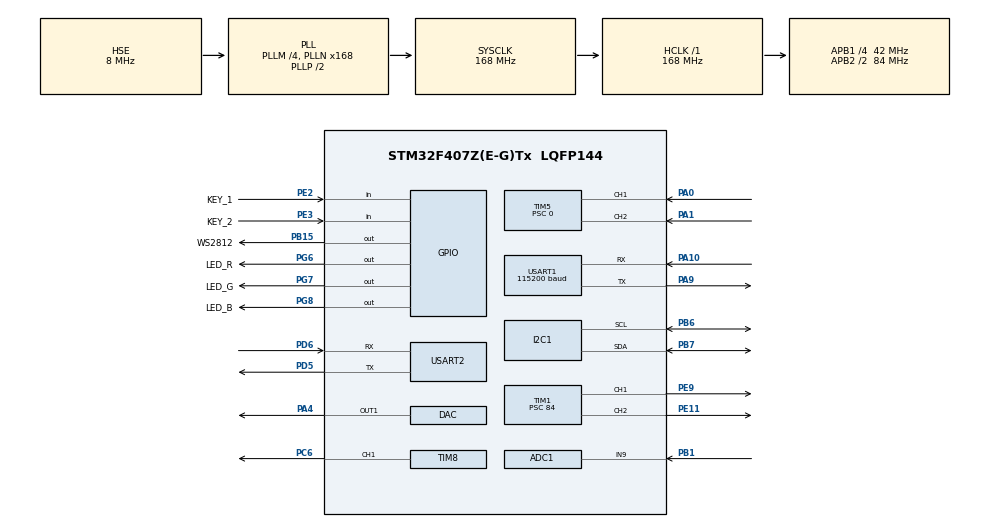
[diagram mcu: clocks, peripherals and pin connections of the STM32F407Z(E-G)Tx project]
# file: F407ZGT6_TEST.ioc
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ADC1.Channel-0\#ChannelRegularConversion=ADC_CHANNEL_9
ADC1.ClockPrescaler=ADC_CLOCK_SYNC_PCLK_DIV4
ADC1.NbrOfConversion=1
ADC1.NbrOfConversionFlag=1
ADC1.Rank-0\#ChannelRegularConversion=1
ADC1.SamplingTime-0\#ChannelRegularConversion=ADC_SAMPLETIME_15CYCLES
ADC1.master=1
DAC.DAC_Trigger=DAC_TRIGGER_NONE
I2C1.I2C_Mode=I2C_Fast
Mcu.Family=STM32F4
Mcu.Name=STM32F407Z(E-G)Tx
Mcu.Package=LQFP144
NVIC.PriorityGroup=NVIC_PRIORITYGROUP_4
NVIC.TIM7_IRQn=true\:4\:0\:true\:false\:true\:true\:true
NVIC.USART1_IRQn=true\:0\:0\:true\:false\:true\:true\:true
NVIC.USART2_IRQn=true\:0\:0\:false\:false\:true\:true\:true
PA0-WKUP.Signal=S_TIM5_CH1
PA1.Signal=S_TIM5_CH2
PA10.Mode=Asynchronous
PA10.Signal=USART1_RX
PA13.Mode=Trace_Asynchronous_SW
PA13.Signal=SYS_JTMS-SWDIO
PA14.Mode=Trace_Asynchronous_SW
PA14.Signal=SYS_JTCK-SWCLK
PA4.Signal=COMP_DAC1_group
PA9.Mode=Asynchronous
PA9.Signal=USART1_TX
PB1.Signal=ADCx_IN9
PB15.GPIO_Label=WS2812
PB15.GPIO_PuPd=GPIO_PULLDOWN
PB15.GPIO_Speed=GPIO_SPEED_FREQ_VERY_HIGH
PB15.Signal=GPIO_Output
PB3.Mode=Trace_Asynchronous_SW
PB3.Signal=SYS_JTDO-SWO
PB6.Mode=I2C
PB6.Signal=I2C1_SCL
PB7.Mode=I2C
PB7.Signal=I2C1_SDA
PC6.Signal=S_TIM8_CH1
PD5.Mode=Asynchronous
PD5.Signal=USART2_TX
PD6.Mode=Asynchronous
PD6.Signal=USART2_RX
PE11.Signal=S_TIM1_CH2
PE2.GPIO_Label=KEY_1
PE2.Signal=GPIO_Input
PE3.GPIO_Label=KEY_2
PE3.Signal=GPIO_Input
PE9.Signal=S_TIM1_CH1
PG6.GPIO_Label=LED_R
PG6.GPIO_ModeDefaultOutputPP=GPIO_MODE_OUTPUT_OD
PG6.GPIO_Speed=GPIO_SPEED_FREQ_MEDIUM
PG6.PinState=GPIO_PIN_SET
PG6.Signal=GPIO_Output
PG7.GPIO_Label=LED_G
PG7.GPIO_ModeDefaultOutputPP=GPIO_MODE_OUTPUT_OD
PG7.GPIO_Speed=GPIO_SPEED_FREQ_MEDIUM
PG7.PinState=GPIO_PIN_SET
PG7.Signal=GPIO_Output
PG8.GPIO_Label=LED_B
PG8.GPIO_ModeDefaultOutputPP=GPIO_MODE_OUTPUT_OD
PG8.GPIO_Speed=GPIO_SPEED_FREQ_MEDIUM
PG8.PinState=GPIO_PIN_SET
PG8.Signal=GPIO_Output
PH0-OSC_IN.Mode=HSE-External-Oscillator
PH0-OSC_IN.Signal=RCC_OSC_IN
PH1-OSC_OUT.Mode=HSE-External-Oscillator
PH1-OSC_OUT.Signal=RCC_OSC_OUT
ProjectManager.HeapSize=0x200
ProjectManager.StackSize=0x400
ProjectManager.TargetToolchain=Makefile
RCC.48MHZClocksFreq_Value=84000000
RCC.AHBFreq_Value=168000000
RCC.APB1CLKDivider=RCC_HCLK_DIV4
RCC.APB1Freq_Value=42000000
RCC.APB1TimFreq_Value=84000000
RCC.APB2CLKDivider=RCC_HCLK_DIV2
RCC.APB2Freq_Value=84000000
RCC.APB2TimFreq_Value=168000000
RCC.CortexFreq_Value=168000000
RCC.HCLKFreq_Value=168000000
RCC.HSE_VALUE=8000000
RCC.HSI_VALUE=16000000
RCC.LSE_VALUE=32768
RCC.PLLM=4
RCC.PLLN=168
RCC.PLLSourceVirtual=RCC_PLLSOURCE_HSE
RCC.SYSCLKFreq_VALUE=168000000
RCC.SYSCLKSource=RCC_SYSCLKSOURCE_PLLCLK
RCC.VCOOutputFreq_Value=336000000
SH.ADCx_IN9.0=ADC1_IN9,IN9
SH.COMP_DAC1_group.0=DAC_OUT1,DAC_OUT1
SH.S_TIM1_CH1.0=TIM1_CH1,PWM Generation1 CH1
SH.S_TIM1_CH2.0=TIM1_CH2,PWM Generation2 CH2
SH.S_TIM5_CH1.0=TIM5_CH1,Encoder_Interface
SH.S_TIM5_CH2.0=TIM5_CH2,Encoder_Interface
SH.S_TIM8_CH1.0=TIM8_CH1,PWM Generation1 CH1
TIM1.AutoReloadPreload=TIM_AUTORELOAD_PRELOAD_ENABLE
TIM1.Channel-PWM\ Generation1\ CH1=TIM_CHANNEL_1
TIM1.Channel-PWM\ Generation2\ CH2=TIM_CHANNEL_2
TIM1.Period=100
TIM1.Prescaler=84
TIM5.CounterMode=TIM_COUNTERMODE_UP
TIM5.Prescaler=0
TIM6.Period=1
TIM6.Prescaler=84-1
TIM7.AutoReloadPreload=TIM_AUTORELOAD_PRELOAD_ENABLE
TIM7.Period=40-1
TIM7.Prescaler=42000-1
TIM8.AutoReloadPreload=TIM_AUTORELOAD_PRELOAD_DISABLE
TIM8.Channel-PWM\ Generation1\ CH1=TIM_CHANNEL_1
TIM8.OCFastMode_PWM-PWM\ Generation1\ CH1=TIM_OCFAST_ENABLE
TIM8.OCIdleState_1=TIM_OCIDLESTATE_RESET
TIM8.Period=100-1
TIM8.Prescaler=84-1
TIM8.Pulse-PWM\ Generation1\ CH1=50
USART1.BaudRate=115200
USART1.VirtualMode=VM_ASYNC
USART2.VirtualMode=VM_ASYNC
VP_TIM1_VS_ClockSourceINT.Mode=Internal
VP_TIM6_VS_ClockSourceINT.Mode=Enable_Timer
VP_TIM7_VS_ClockSourceINT.Mode=Enable_Timer
VP_TIM8_VS_ClockSourceINT.Mode=Internal
board=custom

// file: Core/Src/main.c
/* USER CODE BEGIN Header */
/**
 ******************************************************************************
 * @file           : main.c
 * @brief          : Main program body
 ******************************************************************************
 * @attention
 *
 * <h2><center>&copy; Copyright (c) 2021 STMicroelectronics.
 * All rights reserved.</center></h2>
 *
 * This software component is licensed by ST under BSD 3-Clause license,
 * the "License"; You may not use this file except in compliance with the
 * License. You may obtain a copy of the License at:
 *                        opensource.org/licenses/BSD-3-Clause
 *
 ******************************************************************************
 */
/* USER CODE END Header */
#include "main.h"

#include "adc.h"
#include "dac.h"
#include "gpio.h"
#include "i2c.h"
#include "tim.h"
#include "usart.h"

/* USER CODE BEGIN Includes */
#include "candy.h"
#include "mpu6050.h"
#include "pid.h"
#include "programCtrl.h"
#include "scheduler.h"
#include "stdio.h"
#include "uartPack.h"

/* USER CODE END Includes */

/* USER CODE BEGIN PV */
uart_o_ctrl_t uart_1;
uart_o_ctrl_t uart_s;
motor_t motor_1;
MPU6050_t MPU6050;
static uint8_t userMode = 0;
/* USER CODE END PV */

void SystemClock_Config(void);

int main(void) {

  /* MCU Configuration--------------------------------------------------------*/

  /* Reset of all peripherals, Initializes the Flash interface and the Systick.
   */
  HAL_Init();

  /* Configure the system clock */
  SystemClock_Config();

  /* Initialize all configured peripherals */
  MX_GPIO_Init();
  MX_USART1_UART_Init();
  MX_TIM1_Init();
  MX_TIM5_Init();
  MX_TIM8_Init();
  MX_ADC1_Init();
  MX_DAC_Init();
  MX_TIM7_Init();
  MX_USART2_UART_Init();
  MX_TIM6_Init();
  MX_I2C1_Init();
  /* USER CODE BEGIN 2 */
  Scheduler_Init();  // initialize scheduler
  Enable_Uart_O_Control(&huart1, &uart_1);
  Enable_Uart_O_Control(&huart2, &uart_s);
  while (MPU6050_Init(&MPU6050, &hi2c1) == 1);
  MPU6050_Start_Calibration(&MPU6050);
  Motor_Setup(&motor_1, &htim5, &htim1, TIM_CHANNEL_1, TIM_CHANNEL_2);
  screen("%srest%s", S_END_BIT, S_END_BIT);  // clear screen
  RGB(1, 0, 0);
  /* USER CODE END 2 */

  /* Infinite loop */
  /* USER CODE BEGIN WHILE */
  printf("\r\n--- System running ---\r\n");
  while (1) {
    Scheduler_Run();   // run scheduler
    User_Task_Ctrl();  // run user task
  }
  /* USER CODE END WHILE */

}

void SystemClock_Config(void) {
  RCC_OscInitTypeDef RCC_OscInitStruct = {0};
  RCC_ClkInitTypeDef RCC_ClkInitStruct = {0};

  /** Configure the main internal regulator output voltage
   */
  __HAL_RCC_PWR_CLK_ENABLE();
  __HAL_PWR_VOLTAGESCALING_CONFIG(PWR_REGULATOR_VOLTAGE_SCALE1);
  /** Initializes the RCC Oscillators according to the specified parameters
   * in the RCC_OscInitTypeDef structure.
   */
  RCC_OscInitStruct.OscillatorType = RCC_OSCILLATORTYPE_HSE;
  RCC_OscInitStruct.HSEState = RCC_HSE_ON;
  RCC_OscInitStruct.PLL.PLLState = RCC_PLL_ON;
  RCC_OscInitStruct.PLL.PLLSource = RCC_PLLSOURCE_HSE;
  RCC_OscInitStruct.PLL.PLLM = 4;
  RCC_OscInitStruct.PLL.PLLN = 168;
  RCC_OscInitStruct.PLL.PLLP = RCC_PLLP_DIV2;
  RCC_OscInitStruct.PLL.PLLQ = 4;
  if (HAL_RCC_OscConfig(&RCC_OscInitStruct) != HAL_OK) {
    Error_Handler();
  }
  /** Initializes the CPU, AHB and APB buses clocks
   */
  RCC_ClkInitStruct.ClockType = RCC_CLOCKTYPE_HCLK | RCC_CLOCKTYPE_SYSCLK |
                                RCC_CLOCKTYPE_PCLK1 | RCC_CLOCKTYPE_PCLK2;
  RCC_ClkInitStruct.SYSCLKSource = RCC_SYSCLKSOURCE_PLLCLK;
  RCC_ClkInitStruct.AHBCLKDivider = RCC_SYSCLK_DIV1;
  RCC_ClkInitStruct.APB1CLKDivider = RCC_HCLK_DIV4;
  RCC_ClkInitStruct.APB2CLKDivider = RCC_HCLK_DIV2;

  if (HAL_RCC_ClockConfig(&RCC_ClkInitStruct, FLASH_LATENCY_5) != HAL_OK) {
    Error_Handler();
  }
}

/* USER CODE BEGIN 4 */

void HAL_UART_TxCpltCallback(UART_HandleTypeDef *huart) {
  if (huart->Instance == USART1) {
  } else if (huart->Instance == USART2) {
  }
}

void HAL_UART_RxCpltCallback(UART_HandleTypeDef *huart) {
  if (huart->Instance == USART1) {
    Uart_O_Data_Process(&uart_1);
  } else if (huart->Instance == USART2) {
    Uart_O_Data_Process(&uart_s);
  }
}

/**
 * @brief 串口超时处理
 */
void Task_Uart_Overtime(void) {
  Uart_O_Timeout_Check(&uart_1);
  Uart_O_Timeout_Check(&uart_s);
  return;
}

/**
 * @brief 测试用，串口控制
 */
void Task_Screen_Controller(void) {
  static uint8_t init = 0;
  static uint8_t controlWord = 0;
  static float goDeg = 0;
  static float setDeg = 0;
  static float duty = 0;
  static float speed = 0;
  static float setPosKp = 0;
  static float setPosKi = 0;
  static float setPosKd = 0;
  static float setSpdKp = 0;
  static float setSpdKi = 0;
  static float setSpdKd = 0;
  if (__RX_DONE(uart_s)) {
    __RX_DONE(uart_s) = 0;
    controlWord = __RX_DATA(uart_s)[0];
    printf("\r\n>> %s\r\n", __RX_DATA(uart_s));
    if (init) {
      switch (userMode) {
        case 0:  //控制选择
          switch (controlWord) {
            case '1':
              userMode = 1;
              __MOTOR_RESET_ENCODER(motor_1);
              HAL_TIM_Base_Start_IT(&htim7);  //开转速计算
              Enable_SchTask(MOTOR_POS_PID_TASK_ID);
              Enable_SchTask(MOTOR_SPD_PID_TASK_ID);
              Enable_SchTask(PARAM_REPORT_TASK_ID);
              HAL_Delay(100);
              break;
            case '2':
              userMode = 2;
              HAL_TIM_Base_Start_IT(&htim7);  //开转速计算
              Enable_SchTask(PARAM_REPORT_TASK_ID);
              Enable_SchTask(MOTOR_SPD_PID_TASK_ID);
              HAL_Delay(100);
              break;
            case '3':
              userMode = 3;
              Enable_SchTask(PARAM_REPORT_TASK_ID);
              HAL_TIM_Base_Start_IT(&htim7);  //开转速计算
              HAL_Delay(100);
              break;
            default:
              break;
          }
          break;
        case 1:  //位置PID控制
          if (controlWord == 'e') {
            HAL_TIM_Base_Stop_IT(&htim7);  //停转速计算
            Disable_SchTask(MOTOR_POS_PID_TASK_ID);
            Disable_SchTask(MOTOR_SPD_PID_TASK_ID);
            Disable_SchTask(PARAM_REPORT_TASK_ID);
            __MOTOR_PWM_SETZERO(motor_1);
            userMode = 0;
            break;
          }
          if (sscanf((char *) __RX_DATA(uart_s), "pp:%f", &setPosKp) == 1) {
            setPosKp /= 10000.0f;
            motor_1.posPID.proportion = setPosKp;
          } else if (sscanf((char *) __RX_DATA(uart_s), "pi:%f", &setPosKi) ==
                     1) {
            setPosKi /= 10000.0f;
            motor_1.posPID.integral = setPosKi;
          } else if (sscanf((char *) __RX_DATA(uart_s), "pd:%f", &setPosKd) ==
                     1) {
            setPosKd /= 10000.0f;
            motor_1.posPID.derivative = setPosKd;
          } else if (sscanf((char *) __RX_DATA(uart_s), "sp:%f", &setSpdKp) ==
                     1) {
            setSpdKp /= 10000.0f;
            motor_1.spdPID.proportion = setSpdKp;
          } else if (sscanf((char *) __RX_DATA(uart_s), "si:%f", &setSpdKi) ==
                     1) {
            setSpdKi /= 10000.0f;
            motor_1.spdPID.integral = setSpdKi;
          } else if (sscanf((char *) __RX_DATA(uart_s), "sd:%f", &setSpdKd) ==
                     1) {
            setSpdKd /= 10000.0f;
            motor_1.spdPID.derivative = setSpdKd;
          } else if (sscanf((char *) __RX_DATA(uart_s), "gdeg:%f", &goDeg) == 1)
            __MOTOR_GO_DEGREE(motor_1, goDeg);
          else if (sscanf((char *) __RX_DATA(uart_s), "sdeg:%f", &setDeg) == 1)
            __MOTOR_SET_DEGREE(motor_1, setDeg);
          break;
        case 2:  //转速PID控制
          if (controlWord == 'e') {
            HAL_TIM_Base_Stop_IT(&htim7);  //停转速计算
            Disable_SchTask(MOTOR_SPD_PID_TASK_ID);
            Disable_SchTask(PARAM_REPORT_TASK_ID);
            __MOTOR_PWM_SETZERO(motor_1);
            userMode = 0;
            break;
          }
          if (sscanf((char *) __RX_DATA(uart_s), "s:%f", &speed) == 1)
            __MOTOR_SET_SPEED(motor_1, speed);
          else if (sscanf((char *) __RX_DATA(uart_s), "sp:%f", &setSpdKp) == 1) {
            setSpdKp /= 10000.0f;
            motor_1.spdPID.proportion = setSpdKp;
          } else if (sscanf((char *) __RX_DATA(uart_s), "si:%f", &setSpdKi) ==
                     1) {
            setSpdKi /= 10000.0f;
            motor_1.spdPID.integral = setSpdKi;
          } else if (sscanf((char *) __RX_DATA(uart_s), "sd:%f", &setSpdKd) ==
                     1) {
            setSpdKd /= 10000.0f;
            motor_1.spdPID.derivative = setSpdKd;
          }
          break;
        case 3:  //手动控制
          if (controlWord == 'e') {
            HAL_TIM_Base_Stop_IT(&htim7);  //停转速计算
            Disable_SchTask(PARAM_REPORT_TASK_ID);
            __MOTOR_PWM_SETZERO(motor_1);
            userMode = 0;
            break;
          }
          if (sscanf((char *) __RX_DATA(uart_s), "d:%f", &duty) == 1) {
            duty /= 10.0f;
            duty = fmap(duty, 0.0f, 100.0f, 50.0f, 100.0f);
            __MOTOR_PWM_SETFWD(motor_1, duty);
            motor_1.pwmDuty = duty;
          }
          break;
      }
      RGB(0, 0, 0);
    } else {
      if (controlWord == 'o') {
        RGB(0, 0, 1);
        HAL_Delay(1000);
        screen("in.en=1%s", S_END_BIT);
        HAL_Delay(100);
        screen("sp=%d%ssi=%d%ssd=%d%spp=%d%spi=%d%spd=%d%s",
               (int) (motor_1.spdPID.proportion * 10000.0f), S_END_BIT,
               (int) (motor_1.spdPID.integral * 10000.0f), S_END_BIT,
               (int) (motor_1.spdPID.derivative * 10000.0f), S_END_BIT,
               (int) (motor_1.posPID.proportion * 10000.0f), S_END_BIT,
               (int) (motor_1.posPID.integral * 10000.0f), S_END_BIT,
               (int) (motor_1.posPID.derivative * 10000.0f), S_END_BIT);
        RGB(1, 0, 1);
        HAL_Delay(1000);
        RGB(0, 1, 0);
        screen("ok.en=1%s", S_END_BIT);
        HAL_Delay(200);
        init = 1;
        RGB(0, 0, 0);
      }
    }
  } else if (__RX_DONE(uart_1)) {
    __RX_DONE(uart_1) = 0;
    controlWord = __RX_DATA(uart_1)[0];
    if (controlWord == '>') {
      screen("%s", __RX_DATA(uart_1) + 1);
    } else if (controlWord == 'r') {
      MPU6050_Reset(&MPU6050);
    }
  }
}

void HAL_TIM_PeriodElapsedCallback(TIM_HandleTypeDef *htim) {
  if (htim == &htim7) {  // 50Hz,20ms,用于精确读取转速
    HAL_GPIO_TogglePin(LED_R_GPIO_Port, LED_R_Pin);
    Motor_Get_Speed(&motor_1, 50);
  }
}

void Task_Motor_Pos_PID(void) {
  HAL_GPIO_TogglePin(LED_G_GPIO_Port, LED_G_Pin);
  Motor_Pos_PID_Run(&motor_1);
}

void Task_Motor_Spd_PID(void) {
  HAL_GPIO_TogglePin(LED_B_GPIO_Port, LED_B_Pin);
  Motor_Spd_PID_Run(&motor_1);
}

void Task_Param_Report(void) {
  static uint8_t calc = 0;
  static uint8_t calc2 = 0;
  calc = (uint8_t) fmap(motor_1.speed, -120, 120, 0, 80);
  // printf("M1:%f,%f,%f,%ld\r\n", __MOTOR_GET_DEGREE(motor_1), motor_1.speed,
  //        motor_1.pwmDuty,
  //        __MOTOR_GET_POS(motor_1));  //输出位置，转速，PWM占空比
  switch (userMode) {
    case 3:
      screen("add map.id,0,%d%srpm.val=%d%s", calc, S_END_BIT,
             (int) (motor_1.speed * 10), S_END_BIT);
      break;
    case 1:
      calc2 = (uint8_t) fmap(__MOTOR_GET_DEGREE(motor_1), -720, 720, 0, 80);
      screen("add map.id,0,%d%sadd map.id,1,%d%srpm.val=%d%sdeg.val=%d%s", calc,
             S_END_BIT, calc2, S_END_BIT, (int) (motor_1.speed * 10), S_END_BIT,
             (int) (__MOTOR_GET_DEGREE(motor_1) * 100), S_END_BIT);
      break;
    case 2:
      screen("add map.id,0,%d%srpm.val=%d%sdeg.val=%d%s", calc, S_END_BIT,
             (int) (motor_1.speed * 10), S_END_BIT,
             (int) (__MOTOR_GET_DEGREE(motor_1) * 100), S_END_BIT);
      break;
  }
}

void Task_MPU_Process(void) {
  static uint8_t cnt = 0;
  if (cnt < 200) {
    cnt++;
  } else if (cnt == 200) {
    cnt = 0xff;
    MPU6050_Stop_Calibration(&MPU6050);
    printf("MPU6050 Z Calibration Done\r\n");
    HAL_Delay(100);
  }
  MPU6050_Read_All(&MPU6050);
  printf("mpu:%f,%f,%f\r\n", MPU6050.KalmanAngleX, MPU6050.KalmanAngleY, MPU6050.ZDegree);
}
/* USER CODE END 4 */

void Error_Handler(void) {
  /* USER CODE BEGIN Error_Handler_Debug */
  /* User can add his own implementation to report the HAL error return
   * state */
  __disable_irq();
  while (1) {
  }
  /* USER CODE END Error_Handler_Debug */
}

#ifdef USE_FULL_ASSERT
/**
 * @brief  Reports the name of the source file and the source line number
 *         where the assert_param error has occurred.
 * @param  file: pointer to the source file name
 * @param  line: assert_param error line source number
 * @retval None
 */
void assert_failed(uint8_t *file, uint32_t line) {
  /* USER CODE BEGIN 6 */
  /* User can add his own implementation to report the file name and line
     number,
     ex: printf("Wrong parameters value: file %s on line %d\r\n", file,
     line) */
  /* USER CODE END 6 */
}
#endif /* USE_FULL_ASSERT */

/************************ (C) COPYRIGHT STMicroelectronics *****END OF FILE****/
